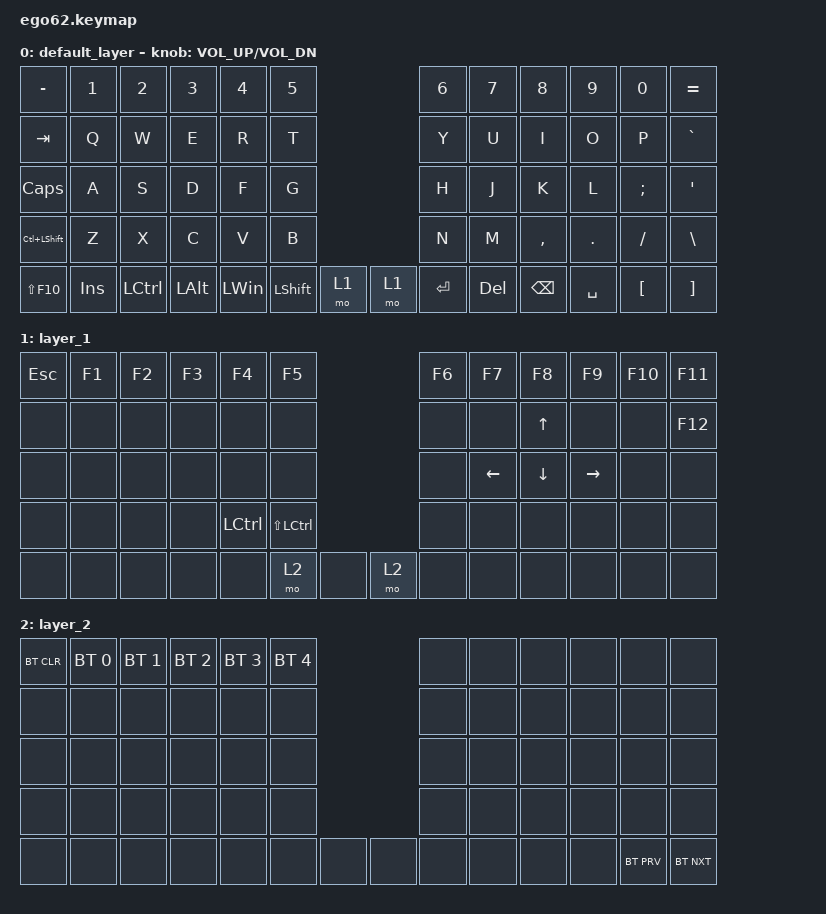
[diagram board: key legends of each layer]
/*
 * Copyright (c) 2020 The ZMK Contributors
 *
 * SPDX-License-Identifier: MIT
 */

#include <behaviors.dtsi>
#include <dt-bindings/zmk/bt.h>
#include <dt-bindings/zmk/keys.h>

/ {
    keymap {
        compatible = "zmk,keymap";

        default_layer {
            bindings = <
&kp MINUS      &kp N1      &kp N2     &kp N3        &kp N4        &kp N5                        &kp N6     &kp N7      &kp N8         &kp N9     &kp N0         &kp EQUAL
&kp TAB        &kp Q       &kp W      &kp E         &kp R         &kp T                         &kp Y      &kp U       &kp I          &kp O      &kp P          &kp GRAVE
&kp CAPSLOCK   &kp A       &kp S      &kp D         &kp F         &kp G                         &kp H      &kp J       &kp K          &kp L      &kp SEMICOLON  &kp SQT
&kp LC(LSHFT)  &kp Z       &kp X      &kp C         &kp V         &kp B                         &kp N      &kp M       &kp COMMA      &kp DOT    &kp FSLH       &kp BACKSLASH
&kp LS(F10)    &kp INSERT  &kp LCTRL  &kp LEFT_ALT  &kp LEFT_WIN  &kp LEFT_SHIFT  &mo 1  &mo 1  &kp ENTER  &kp DELETE  &kp BACKSPACE  &kp SPACE  &kp LBKT       &kp RBKT
            >;

            sensor-bindings = <&inc_dec_kp C_VOL_UP C_VOL_DN>;
        };

        layer_1 {
            bindings = <
&kp ESC  &kp F1  &kp F2  &kp F3  &kp F4     &kp F5                       &kp F6  &kp F7    &kp F8    &kp F9     &kp F10  &kp F11
&none    &none   &none   &none   &none      &none                        &none   &none     &kp UP    &none      &none    &kp F12
&none    &none   &none   &none   &none      &none                        &none   &kp LEFT  &kp DOWN  &kp RIGHT  &none    &none
&none    &none   &none   &none   &kp LCTRL  &kp LS(LCTRL)                &none   &none     &none     &none      &none    &none
&none    &none   &none   &none   &none      &mo 2          &none  &mo 2  &none   &none     &none     &none      &none    &none
            >;
        };

        layer_2 {
            bindings = <
&bt BT_CLR  &bt BT_SEL 0  &bt BT_SEL 1  &bt BT_SEL 2  &bt BT_SEL 3  &bt BT_SEL 4                &none  &none  &none  &none  &none       &none
&none       &none         &none         &none         &none         &none                       &none  &none  &none  &none  &none       &none
&none       &none         &none         &none         &none         &none                       &none  &none  &none  &none  &none       &none
&none       &none         &none         &none         &none         &none                       &none  &none  &none  &none  &none       &none
&none       &none         &none         &none         &none         &none         &none  &none  &none  &none  &none  &none  &bt BT_PRV  &bt BT_NXT
            >;
        };
    };
};
